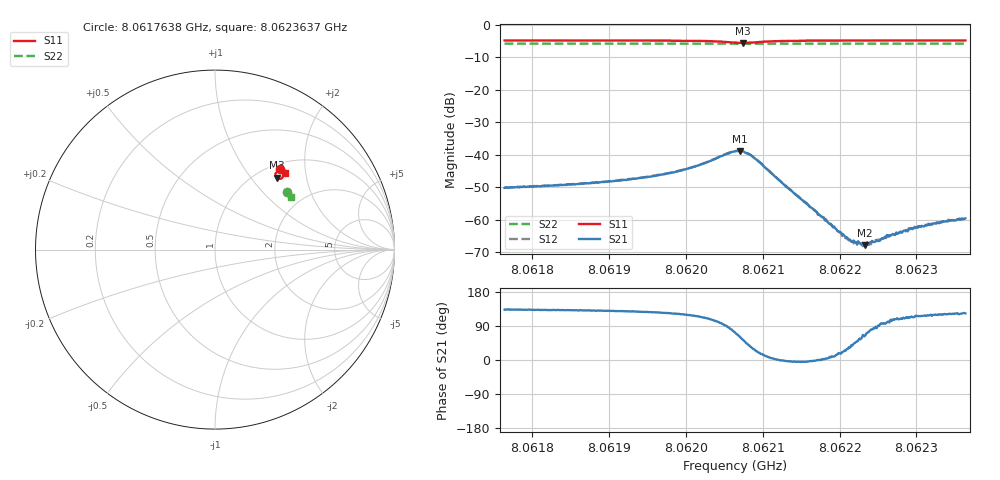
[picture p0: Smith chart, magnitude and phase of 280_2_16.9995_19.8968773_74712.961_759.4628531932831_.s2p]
#  HZ  S  RI  R  50.00
! Rohde & Schwarz Vector Network Analyzer
! Rohde-Schwarz,ZNB20-2Port,1311601062101988,3.16
! Created: UTC 3/20/2024, 11:04:39 PM
! freq[Hz]  re:S11  im:S11  re:S21  im:S21  re:S12  im:S12  re:S22  im:S22
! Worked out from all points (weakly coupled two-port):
!   401 points, 8.0617638 GHz to 8.0623637 GHz, reference 50 ohm
!   highest |S21| = -38.84 dB at 8.0620697 GHz (marker M1); lowest = -67.8 dB at 8.0622332 GHz (marker M2)
!   lowest |S11| = -5.6 dB at 8.0620742 GHz (marker M3), VSWR 3.23, Z = 61.1 + j67.8 ohm
!   |S11| at or under -10 dB: nowhere
!   |S22| runs from -5.8 to -5.8 dB; largest |S21 - S12| = 0.00089
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8.06176376e9  0.3619 0.448  -0.00209 0.00227  -0.002 0.00239  0.4011 0.3232
8.06186425e9  0.369 0.4418  -0.00236 0.00271  -0.00221 0.00288  0.4049 0.3181
8.06192425e9  0.3738 0.4368  -0.00259 0.00323  -0.0024 0.00344  0.4071 0.3151
8.06196474e9  0.3774 0.4319  -0.0028 0.00396  -0.00256 0.00416  0.4086 0.3128
8.06200824e9  0.3814 0.4226  -0.00294 0.00568  -0.0026 0.00591  0.4102 0.3102
8.06206374e9  0.3592 0.3942  0.00335 0.0107  0.00404 0.0107  0.4107 0.3067
8.06206974e9  0.3502 0.396  0.00544 0.0101  0.00613 0.00971  0.4105 0.3066
8.06207424e9  0.344 0.3999  0.00684 0.00907  0.00737 0.0086  0.4105 0.3067
8.06208324e9  0.3371 0.4123  0.00807 0.00598  0.00849 0.00551  0.4107 0.3068
8.06209374e9  0.3385 0.4256  0.00758 0.0028  0.00765 0.00236  0.4113 0.3069
8.06212823e9  0.3568 0.4394  0.00341 -0.00014  0.00348 -0.000309  0.4133 0.3058
8.06216423e9  0.3674 0.4386  0.0015 -7.52e-05  0.00152 -0.000195  0.4151 0.3038
8.06220623e9  0.374 0.4357  0.000511 0.000236  0.000529 0.000209  0.4169 0.3014
8.06221373e9  0.375 0.4353  0.000409 0.000265  0.000407 0.000244  0.4173 0.3011
8.06222723e9  0.3765 0.4344  0.00025 0.000353  0.000235 0.000324  0.4176 0.3003
8.06223323e9  0.3771 0.434  0.000174 0.000366  0.000173 0.000368  0.4177 0.3001
8.06224972e9  0.3788 0.4329  -9.54e-07 0.000469  2.14e-05 0.000491  0.4184 0.2994
8.06226472e9  0.3803 0.432  -9.04e-05 0.00057  -9.63e-05 0.000545  0.4189 0.2985
8.06229472e9  0.3826 0.4301  -0.000287 0.000651  -0.000218 0.000699  0.4201 0.2969
8.06231422e9  0.384 0.4291  -0.000388 0.000728  -0.00037 0.000754  0.4207 0.2959
8.06234572e9  0.3865 0.4273  -0.000513 0.000845  -0.000457 0.000864  0.4218 0.2943
8.06236372e9  0.3875 0.4263  -0.000571 0.000878  -0.000519 0.000928  0.4226 0.2933
